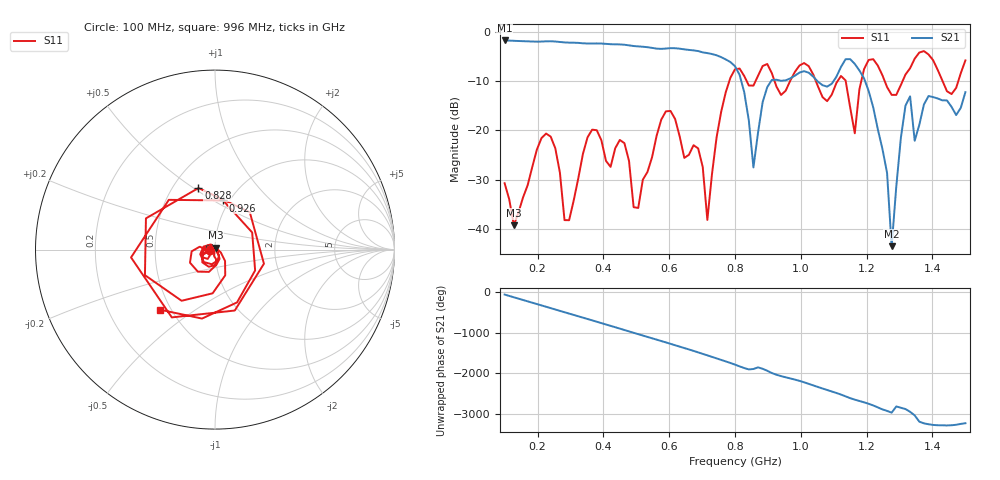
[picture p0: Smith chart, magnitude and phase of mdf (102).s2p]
! NanoVNA-App
! Date: 2025-09-25 17:41:45
! Start: 100MHz Stop: 1,5GHz Points: 101
! S-Parameter data: F S11 S21 S12 S22
# Hz S RI R 50
!  Frequency  S11_Real  S11_Imag  S21_Real  S21_Imag  S12_Real  S12_Imag  S22_Real  S22_Imag
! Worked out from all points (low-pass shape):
!   101 points, 100 MHz to 1.5 GHz, reference 50 ohm
!   highest |S21| = -1.80 dB at 100 MHz (marker M1); lowest = -43.4 dB at 1.276 GHz (marker M2)
!   |S21| within 3 dB of the highest: start of sweep to 743.9 MHz
!   lowest |S11| = -39.2 dB at 128 MHz (marker M3), VSWR 1.02, Z = 50.3 + j1.05 ohm
!   |S11| at or under -10 dB: start of sweep to 782.9 MHz; 1.046 GHz to 1.112 GHz (66.59 MHz wide, 6.17 % of centre); 1.255 GHz to 1.309 GHz (54.64 MHz wide, 4.26 % of centre) (the widest 3 of 7)
!   S12 and S22 are empty: the file has one direction only
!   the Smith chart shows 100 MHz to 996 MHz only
!   S11 on the Smith chart (normalised r, x): 100 MHz: 0.94, -0.01; 828 MHz: 0.67, +0.52; 926 MHz: 0.94, +0.55; 996 MHz: 0.44, -0.37
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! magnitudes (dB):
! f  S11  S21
! 100 MHz  -30.7  -1.8
! 128 MHz  -39.2  -1.9
! 212 MHz  -21.6  -2.0
! 282 MHz  -38.2  -2.2
! 338 MHz  -24.8  -2.4
! 464 MHz  -22.6  -2.7
! 506 MHz  -35.7  -3.0
! 576 MHz  -17.8  -3.5
! 688 MHz  -23.6  -3.9
! 716 MHz  -38.1  -4.4
! 800 MHz  -7.6  -7.0
! 828 MHz  -9.0  -12.3
! 856 MHz  -10.9  -27.5
! 926 MHz  -11.1  -9.8
! 996 MHz  -6.9  -8.3
! 1.038 GHz  -8.7  -9.1
! 1.164 GHz  -20.6  -6.5
! 1.192 GHz  -7.6  -9.5
! 1.262 GHz  -11.2  -28.6
! 1.276 GHz  -12.8  -43.4
! 1.318 GHz  -8.7  -15.0
! 1.5 GHz  -5.8  -12.3
